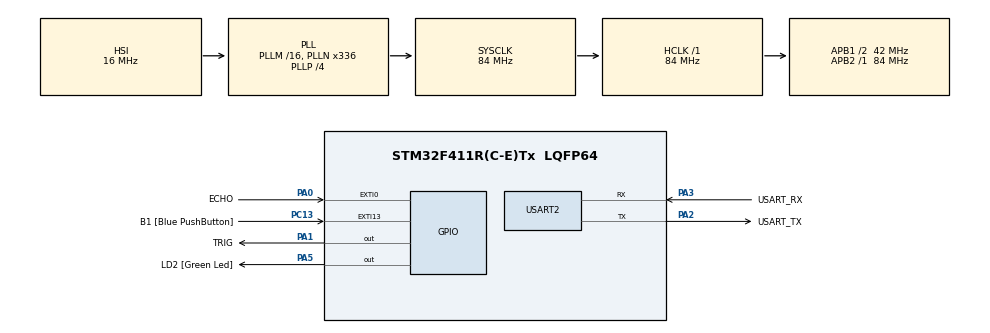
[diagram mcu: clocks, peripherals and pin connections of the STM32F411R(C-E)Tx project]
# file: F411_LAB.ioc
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Mcu.Family=STM32F4
Mcu.Name=STM32F411R(C-E)Tx
Mcu.Package=LQFP64
NVIC.EXTI0_IRQn=true\:0\:0\:false\:false\:true\:true\:true\:true
NVIC.EXTI15_10_IRQn=true\:0\:0\:false\:false\:true\:true\:true\:true
NVIC.PriorityGroup=NVIC_PRIORITYGROUP_0
PA0-WKUP.GPIO_Label=ECHO
PA0-WKUP.GPIO_ModeDefaultEXTI=GPIO_MODE_IT_RISING_FALLING
PA0-WKUP.Signal=GPXTI0
PA1.GPIO_Label=TRIG
PA1.Signal=GPIO_Output
PA13.GPIO_Label=TMS
PA13.Mode=Trace_Asynchronous_SW
PA13.Signal=SYS_JTMS-SWDIO
PA14.GPIO_Label=TCK
PA14.Mode=Trace_Asynchronous_SW
PA14.Signal=SYS_JTCK-SWCLK
PA2.GPIO_Label=USART_TX
PA2.Mode=Asynchronous
PA2.Signal=USART2_TX
PA3.GPIO_Label=USART_RX
PA3.Mode=Asynchronous
PA3.Signal=USART2_RX
PA5.GPIO_Label=LD2 [Green Led]
PA5.Signal=GPIO_Output
PB3.GPIO_Label=SWO
PB3.Mode=Trace_Asynchronous_SW
PB3.Signal=SYS_JTDO-SWO
PC13-ANTI_TAMP.GPIO_Label=B1 [Blue PushButton]
PC13-ANTI_TAMP.GPIO_ModeDefaultEXTI=GPIO_MODE_IT_FALLING
PC13-ANTI_TAMP.Signal=GPXTI13
PC14-OSC32_IN.Signal=RCC_OSC32_IN
PC15-OSC32_OUT.Signal=RCC_OSC32_OUT
PH0\ -\ OSC_IN.Signal=RCC_OSC_IN
PH1\ -\ OSC_OUT.Signal=RCC_OSC_OUT
ProjectManager.HeapSize=0x200
ProjectManager.StackSize=0x400
ProjectManager.TargetToolchain=STM32CubeIDE
RCC.48MHZClocksFreq_Value=84000000
RCC.AHBFreq_Value=84000000
RCC.APB1CLKDivider=RCC_HCLK_DIV2
RCC.APB1Freq_Value=42000000
RCC.APB1TimFreq_Value=84000000
RCC.APB2Freq_Value=84000000
RCC.APB2TimFreq_Value=84000000
RCC.CortexFreq_Value=84000000
RCC.FLatency-AdvancedSettings=FLASH_LATENCY_2
RCC.HCLKFreq_Value=84000000
RCC.HSE_VALUE=8000000
RCC.HSI_VALUE=16000000
RCC.LSE_VALUE=32768
RCC.PLLN=336
RCC.PLLP=RCC_PLLP_DIV4
RCC.SYSCLKFreq_VALUE=84000000
RCC.SYSCLKSource=RCC_SYSCLKSOURCE_PLLCLK
RCC.VCOOutputFreq_Value=336000000
TIM1.AutoReloadPreload=TIM_AUTORELOAD_PRELOAD_ENABLE
TIM1.Prescaler=84-1
USART2.VirtualMode=VM_ASYNC
VP_TIM1_VS_ClockSourceINT.Mode=Internal
board=NUCLEO-F411RE

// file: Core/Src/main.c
/* USER CODE BEGIN Header */
/**
  ******************************************************************************
  * @file           : main.c
  * @brief          : Main program body
  ******************************************************************************
  * @attention
  *
  * Copyright (c) 2026 STMicroelectronics.
  * All rights reserved.
  *
  * This software is licensed under terms that can be found in the LICENSE file
  * in the root directory of this software component.
  * If no LICENSE file comes with this software, it is provided AS-IS.
  *
  ******************************************************************************
  */
/* USER CODE END Header */
#include "main.h"

/* USER CODE BEGIN Includes */
#include <stdio.h>
#include "ultrasonic.h"
/* USER CODE END Includes */

TIM_HandleTypeDef htim1;

UART_HandleTypeDef huart2;

void SystemClock_Config(void);
static void MX_GPIO_Init(void);
static void MX_TIM1_Init(void);
static void MX_USART2_UART_Init(void);

/* USER CODE BEGIN 0 */
#ifdef __GNUC__
#define PUTCHAR_PROTOTYPE int __io_putchar(int ch)
#else
#define PUTCHAR_PROTOTYPE int fputc(int ch, FILE *f)
#endif

PUTCHAR_PROTOTYPE
{
  if (ch == '\n')
  {
    HAL_UART_Transmit(&huart2, (uint8_t *)"\r", 1, 0xFFFF);
  }
  HAL_UART_Transmit(&huart2, (uint8_t *)&ch, 1, 0xFFFF);

  return ch;
}

static void Sensor_Task(void)
{
  Ultrasonic_Result result;
  char line[80];

  Ultrasonic_Task();

  if (Ultrasonic_GetResult(&result) != 0U)
  {
    (void)snprintf(line, sizeof(line), "D,%lu,%u,%u,%lu\n",
                   (unsigned long)result.timestamp_ms,
                   (unsigned int)result.distance_mm,
                   (unsigned int)result.valid,
                   (unsigned long)result.errors);
    printf("%s", line);
    printf("C,%u\n", (unsigned int)Ultrasonic_GetLastEchoTicks());
  }
}
/* USER CODE END 0 */

int main(void)
{

  /* MCU Configuration--------------------------------------------------------*/

  /* Reset of all peripherals, Initializes the Flash interface and the Systick. */
  HAL_Init();

  /* Configure the system clock */
  SystemClock_Config();

  /* Initialize all configured peripherals */
  MX_GPIO_Init();
  MX_TIM1_Init();
  MX_USART2_UART_Init();
  /* USER CODE BEGIN 2 */
  Ultrasonic_Init();
   printf("\n=== F411_TASK_LAB Step 2: Ultrasonic ===\n");
   printf("HC-SR04: TRIG=PA1, ECHO=PA0, 5 Hz sample, 1 Hz median\n");
   printf("TIM1: PCLK2=%luHz divider=%lu ARR=%lu tick=%luHz\n",
          (unsigned long)HAL_RCC_GetPCLK2Freq(),
          (unsigned long)(htim1.Init.Prescaler + 1U),
          (unsigned long)htim1.Init.Period,
          (unsigned long)(HAL_RCC_GetPCLK2Freq() / (htim1.Init.Prescaler + 1U)));
  /* USER CODE END 2 */

  /* Infinite loop */
  while (1)
  {

    /* USER CODE BEGIN 3 */
	  Sensor_Task();
  }
  /* USER CODE END 3 */
}

void SystemClock_Config(void)
{
  RCC_OscInitTypeDef RCC_OscInitStruct = {0};
  RCC_ClkInitTypeDef RCC_ClkInitStruct = {0};

  /** Configure the main internal regulator output voltage
  */
  __HAL_RCC_PWR_CLK_ENABLE();
  __HAL_PWR_VOLTAGESCALING_CONFIG(PWR_REGULATOR_VOLTAGE_SCALE1);

  /** Initializes the RCC Oscillators according to the specified parameters
  * in the RCC_OscInitTypeDef structure.
  */
  RCC_OscInitStruct.OscillatorType = RCC_OSCILLATORTYPE_HSI;
  RCC_OscInitStruct.HSIState = RCC_HSI_ON;
  RCC_OscInitStruct.HSICalibrationValue = RCC_HSICALIBRATION_DEFAULT;
  RCC_OscInitStruct.PLL.PLLState = RCC_PLL_ON;
  RCC_OscInitStruct.PLL.PLLSource = RCC_PLLSOURCE_HSI;
  RCC_OscInitStruct.PLL.PLLM = 16;
  RCC_OscInitStruct.PLL.PLLN = 336;
  RCC_OscInitStruct.PLL.PLLP = RCC_PLLP_DIV4;
  RCC_OscInitStruct.PLL.PLLQ = 4;
  if (HAL_RCC_OscConfig(&RCC_OscInitStruct) != HAL_OK)
  {
    Error_Handler();
  }

  /** Initializes the CPU, AHB and APB buses clocks
  */
  RCC_ClkInitStruct.ClockType = RCC_CLOCKTYPE_HCLK|RCC_CLOCKTYPE_SYSCLK
                              |RCC_CLOCKTYPE_PCLK1|RCC_CLOCKTYPE_PCLK2;
  RCC_ClkInitStruct.SYSCLKSource = RCC_SYSCLKSOURCE_PLLCLK;
  RCC_ClkInitStruct.AHBCLKDivider = RCC_SYSCLK_DIV1;
  RCC_ClkInitStruct.APB1CLKDivider = RCC_HCLK_DIV2;
  RCC_ClkInitStruct.APB2CLKDivider = RCC_HCLK_DIV1;

  if (HAL_RCC_ClockConfig(&RCC_ClkInitStruct, FLASH_LATENCY_2) != HAL_OK)
  {
    Error_Handler();
  }
}

static void MX_TIM1_Init(void)
{

  TIM_ClockConfigTypeDef sClockSourceConfig = {0};
  TIM_MasterConfigTypeDef sMasterConfig = {0};

  htim1.Instance = TIM1;
  htim1.Init.Prescaler = 84-1;
  htim1.Init.CounterMode = TIM_COUNTERMODE_UP;
  htim1.Init.Period = 65535;
  htim1.Init.ClockDivision = TIM_CLOCKDIVISION_DIV1;
  htim1.Init.RepetitionCounter = 0;
  htim1.Init.AutoReloadPreload = TIM_AUTORELOAD_PRELOAD_ENABLE;
  if (HAL_TIM_Base_Init(&htim1) != HAL_OK)
  {
    Error_Handler();
  }
  sClockSourceConfig.ClockSource = TIM_CLOCKSOURCE_INTERNAL;
  if (HAL_TIM_ConfigClockSource(&htim1, &sClockSourceConfig) != HAL_OK)
  {
    Error_Handler();
  }
  sMasterConfig.MasterOutputTrigger = TIM_TRGO_RESET;
  sMasterConfig.MasterSlaveMode = TIM_MASTERSLAVEMODE_DISABLE;
  if (HAL_TIMEx_MasterConfigSynchronization(&htim1, &sMasterConfig) != HAL_OK)
  {
    Error_Handler();
  }

}

static void MX_USART2_UART_Init(void)
{

  huart2.Instance = USART2;
  huart2.Init.BaudRate = 115200;
  huart2.Init.WordLength = UART_WORDLENGTH_8B;
  huart2.Init.StopBits = UART_STOPBITS_1;
  huart2.Init.Parity = UART_PARITY_NONE;
  huart2.Init.Mode = UART_MODE_TX_RX;
  huart2.Init.HwFlowCtl = UART_HWCONTROL_NONE;
  huart2.Init.OverSampling = UART_OVERSAMPLING_16;
  if (HAL_UART_Init(&huart2) != HAL_OK)
  {
    Error_Handler();
  }

}

static void MX_GPIO_Init(void)
{
  GPIO_InitTypeDef GPIO_InitStruct = {0};

  /* GPIO Ports Clock Enable */
  __HAL_RCC_GPIOC_CLK_ENABLE();
  __HAL_RCC_GPIOH_CLK_ENABLE();
  __HAL_RCC_GPIOA_CLK_ENABLE();
  __HAL_RCC_GPIOB_CLK_ENABLE();

  /*Configure GPIO pin Output Level */
  HAL_GPIO_WritePin(GPIOA, TRIG_Pin|LD2_Pin, GPIO_PIN_RESET);

  /*Configure GPIO pin : B1_Pin */
  GPIO_InitStruct.Pin = B1_Pin;
  GPIO_InitStruct.Mode = GPIO_MODE_IT_FALLING;
  GPIO_InitStruct.Pull = GPIO_NOPULL;
  HAL_GPIO_Init(B1_GPIO_Port, &GPIO_InitStruct);

  /*Configure GPIO pin : ECHO_Pin */
  GPIO_InitStruct.Pin = ECHO_Pin;
  GPIO_InitStruct.Mode = GPIO_MODE_IT_RISING_FALLING;
  GPIO_InitStruct.Pull = GPIO_NOPULL;
  HAL_GPIO_Init(ECHO_GPIO_Port, &GPIO_InitStruct);

  /*Configure GPIO pins : TRIG_Pin LD2_Pin */
  GPIO_InitStruct.Pin = TRIG_Pin|LD2_Pin;
  GPIO_InitStruct.Mode = GPIO_MODE_OUTPUT_PP;
  GPIO_InitStruct.Pull = GPIO_NOPULL;
  GPIO_InitStruct.Speed = GPIO_SPEED_FREQ_LOW;
  HAL_GPIO_Init(GPIOA, &GPIO_InitStruct);

  /* EXTI interrupt init*/
  HAL_NVIC_SetPriority(EXTI0_IRQn, 0, 0);
  HAL_NVIC_EnableIRQ(EXTI0_IRQn);

  HAL_NVIC_SetPriority(EXTI15_10_IRQn, 0, 0);
  HAL_NVIC_EnableIRQ(EXTI15_10_IRQn);

}

/* USER CODE BEGIN 4 */
void HAL_GPIO_EXTI_Callback(uint16_t GPIO_Pin)
{
  if (GPIO_Pin == ECHO_Pin)
  {
    Ultrasonic_OnEchoEdge();
  }
  else if (GPIO_Pin == B1_Pin)
  {
    HAL_GPIO_TogglePin(LD2_GPIO_Port, LD2_Pin);
  }
}
/* USER CODE END 4 */

void Error_Handler(void)
{
  __disable_irq();
  while (1)
  {
  }
}
